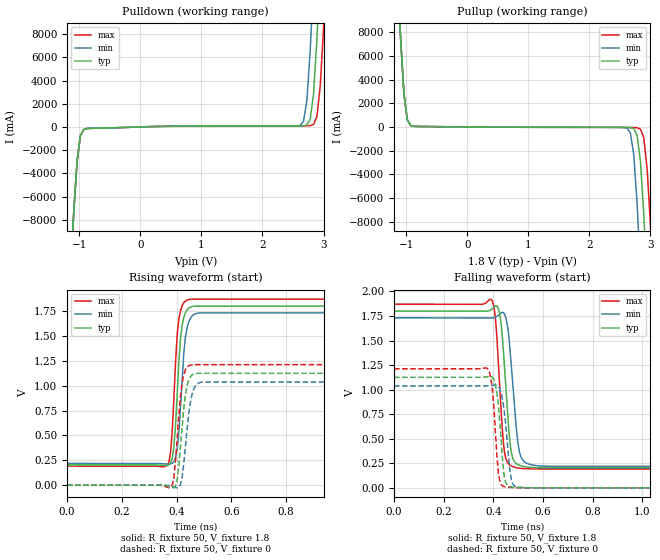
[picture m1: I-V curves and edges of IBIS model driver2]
| IBIS file invchain_skewp_probe.ibs created by PYS2IBIS3
| Missouri S&T EMC Lab
[IBIS Ver] 7.1
[File Name] invchain_skewp_probe.ibs
[File Rev] 1.0
[Date] Jul 27, 2026
[Source] inv_chain variant 'skewp' -- weak PMOS, Wp = Wn
[Notes] Observation pass for parameter selection.
[Component] invchain
[Manufacturer] s2ibispy study
[Package]
| variable   typ   min   max
R_pkg 0 NA NA
L_pkg 0H NA NA
C_pkg 0F NA NA
[Pin]  signal_name   model_name   R_pin   L_pin   C_pin
VSSQ   VSSQ   Gnd
VCCQ   VCCQ   Power
| IN IN dummy
PAD   PAD   driver2
| End of Component
| Models and submodels in the file (1): driver2 (Output)
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[Model] driver2
Model_type Output
Polarity Non-Inverting
Enable Active-High
Vinl  = 0.8V
Vinh  = 2V
C_comp 0.4680pF NA NA
[Temperature Range] 27.0000 27.0000 27.0000
[Voltage Range] 1.8000V 1.7000V 1.9000V
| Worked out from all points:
|   slope of the pulldown table from 0 to 0.27 V, typ, clamps not added: 6.79 ohm
|   slope of the pullup table from 0 to 0.27 V, typ, clamps not added: 24.6 ohm
|   rising waveform, R_fixture 50, V_fixture 1.8: 20-80 % time 20.8ps typ, 22.3ps min, 19.3ps max; typ from 0.204 V to 1.8 V
|   rising waveform, R_fixture 50, V_fixture 0: 20-80 % time 22.8ps typ, 24.4ps min, 21.8ps max; typ from 0 V to 1.12 V
|   falling waveform, R_fixture 50, V_fixture 1.8: 20-80 % time 26.6ps typ, 29.8ps min, 24ps max; typ from 1.8 V to 0.204 V
|   falling waveform, R_fixture 50, V_fixture 0: 20-80 % time 21.7ps typ, 24.4ps min, 20.1ps max; typ from 1.12 V to 0 V
[Pulldown]
| Voltage   I(typ)   I(min)   I(max)
-1.8V     -87.88A    -87.88A    -87.88A
-1.145V   -13.18A    -13.18A    -13.18A
-1.091V   -7.364A    -7.362A    -7.366A
-981.8mV  -760.7mA   -755.8mA   -765.3mA
-927.3mV  -221.8mA   -216.4mA   -227mA
2.618V    89.37mA    140mA      93.72mA
2.727V    172.9mA    2.318A     99.43mA
2.836V    2.874A     12.68A     215.6mA
2.891V    7.545A     19.33A     885.6mA
2.946V    13.8A      25.98A     3.505A
3V        20.45A     32.63A     8.516A
3.6V      93.6A      105.8A     81.42A
[Pullup]
| Voltage   I(typ)   I(min)   I(max)
-1.8V     93.5A      93.5A      93.5A
-1.145V   13.72A     13.72A     13.72A
-1.091V   7.473A     7.472A     7.473A
-1.036V   2.812A     2.811A     2.812A
-981.8mV  621.2mA    620.4mA    621.9mA
-927.3mV  124.8mA    123.9mA    125.6mA
2.618V    -45.42mA   -113mA     -43.22mA
2.727V    -144.2mA   -2.378A    -50.27mA
2.836V    -2.918A    -12.15A    -185.8mA
2.891V    -7.358A    -18.37A    -914mA
3V        -19.41A    -30.82A    -8.26A
3.6V      -87.89A    -99.3A     -76.48A
[Ramp]
| variable   typ   min   max
dV/dt_r 0.6750/0.0225n 0.6222/0.02384n 0.7272/0.0213n
dV/dt_f 0.9575/0.02629n 0.8972/0.02837n 1.0171/0.02431n
R_load = 50
[Rising Waveform]
R_fixture = 50
V_fixture = 1.8
|time   V(typ)   V(min)   V(max)
0s        204.2mV    219.5mV    192.2mV
366.4ps   199.6mV    211.8mV    201.9mV
378.4ps   225.3mV    213.9mV    338.1mV
390.4ps   393.8mV    236.9mV    882.3mV
402.4ps   912.5mV    368.7mV    1.52V
408.4ps   1.23V      536.6mV    1.669V
420.4ps   1.607V     1.064V     1.804V
432.4ps   1.733V     1.491V     1.851V
450.5ps   1.79V      1.677V     1.869V
6ns       1.8V       1.731V     1.87V
[Rising Waveform]
R_fixture = 50
V_fixture = 0
|time   V(typ)   V(min)   V(max)
0s        9.143nV    8.943nV    9.398nV
378.4ps   -21.76mV   -6.589mV   -21.04mV
390.4ps   -23.05mV   -17.62mV   80.01mV
402.4ps   58.53mV    -26.23mV   478.4mV
420.4ps   600.1mV    81.53mV    1.026V
438.4ps   1.001V     564.4mV    1.187V
450.5ps   1.089V     832.5mV    1.207V
462.5ps   1.117V     965.8mV    1.212V
504.5ps   1.125V     1.037V     1.212V
6ns       1.125V     1.037V     1.212V
[Falling Waveform]
R_fixture = 50
V_fixture = 1.8
|time   V(typ)   V(min)   V(max)
0s        1.8V       1.731V     1.87V
396.4ps   1.826V     1.73V      1.903V
408.4ps   1.852V     1.736V     1.737V
426.4ps   1.766V     1.771V     1.017V
444.4ps   1.258V     1.774V     376.2mV
462.5ps   589.5mV    1.55V      241.4mV
474.5ps   337.4mV    1.182V     221.2mV
492.5ps   247.5mV    613.9mV    205.9mV
510.5ps   225.5mV    321.2mV    198.7mV
6ns       204.2mV    219.5mV    192.2mV
[Falling Waveform]
R_fixture = 50
V_fixture = 0
|time   V(typ)   V(min)   V(max)
0s        1.125V     1.037V     1.212V
378.4ps   1.133V     1.038V     1.208V
396.4ps   1.126V     1.044V     999.3mV
414.4ps   972.8mV    1.045V     339.2mV
426.4ps   669.2mV    1.009V     67.69mV
444.4ps   111.9mV    777.4mV    11.5mV
462.5ps   14.86mV    288.1mV    5.677mV
480.5ps   6.703mV    32.58mV    2.774mV
552.6ps   400.7uV    1.222mV    128.7uV
6ns       9.243nV    8.945nV    9.4nV
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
